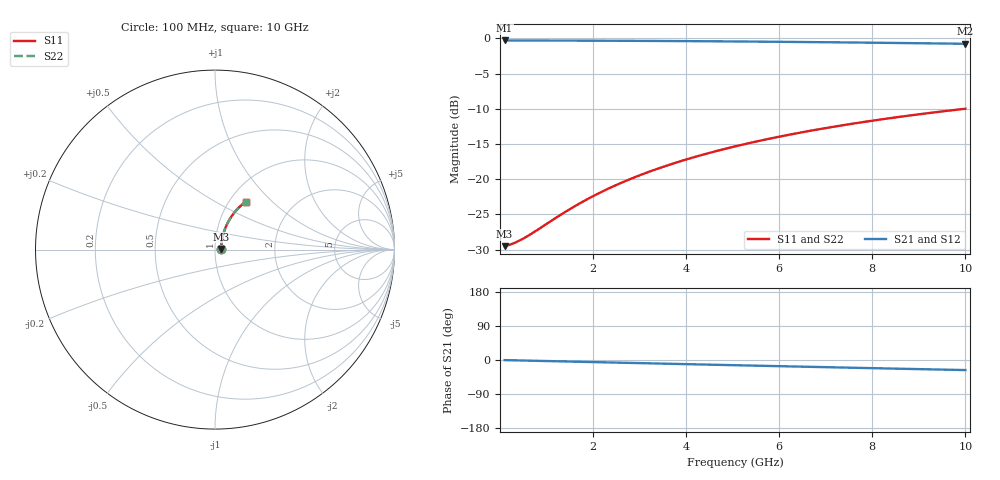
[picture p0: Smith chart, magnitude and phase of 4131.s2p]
# Hz S RI R 50.00
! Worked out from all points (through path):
!   100 points, 100 MHz to 10 GHz, reference 50 ohm
!   highest |S21| = -0.29 dB at 100 MHz (marker M1); lowest = -0.8 dB at 10 GHz (marker M2)
!   group delay of S21, straight-line fit = 7.4 ps
!   lowest |S11| = -29.5 dB at 100 MHz (marker M3), VSWR 1.07, Z = 53.4 + j0.345 ohm
!   |S11| at or under -10 dB: start of sweep to 9.991 GHz
!   |S22| runs from -29.5 to -10.0 dB; largest |S21 - S12| = 0
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1e8  0.0333 0.00322  0.9667 -0.00464  0.9667 -0.00464  0.0333 0.00322
2e8  0.0335 0.00644  0.9665 -0.00928  0.9665 -0.00928  0.0335 0.00644
3e8  0.0338 0.00966  0.9662 -0.0139  0.9662 -0.0139  0.0338 0.00966
4e8  0.034 0.0129  0.966 -0.0186  0.966 -0.0186  0.034 0.0129
5e8  0.0342 0.0161  0.9657 -0.0232  0.9657 -0.0232  0.0342 0.0161
7e8  0.0348 0.0225  0.9652 -0.0324  0.9652 -0.0324  0.0348 0.0225
1.4e9  0.0375 0.0448  0.9623 -0.0647  0.9623 -0.0647  0.0375 0.0448
1.8e9  0.0396 0.0574  0.96 -0.083  0.96 -0.083  0.0396 0.0574
2.2e9  0.0422 0.07  0.9572 -0.1012  0.9572 -0.1012  0.0422 0.07
2.6e9  0.0453 0.0824  0.954 -0.1193  0.954 -0.1193  0.0453 0.0824
3e9  0.0488 0.0946  0.9503 -0.1373  0.9503 -0.1373  0.0488 0.0946
3.4e9  0.0527 0.1067  0.946 -0.155  0.946 -0.155  0.0527 0.1067
3.8e9  0.0571 0.1185  0.9413 -0.1726  0.9413 -0.1726  0.0571 0.1185
4.2e9  0.0619 0.1302  0.9362 -0.19  0.9362 -0.19  0.0619 0.1302
4.6e9  0.0672 0.1416  0.9306 -0.2072  0.9306 -0.2072  0.0672 0.1416
5.1e9  0.0743 0.1556  0.923 -0.2283  0.923 -0.2283  0.0743 0.1556
5.9e9  0.0869 0.177  0.9095 -0.2611  0.9095 -0.2611  0.0869 0.177
6.7e9  0.1009 0.1973  0.8944 -0.2929  0.8944 -0.2929  0.1009 0.1973
7.5e9  0.1162 0.2162  0.8779 -0.3233  0.8779 -0.3233  0.1162 0.2162
8.4e9  0.1348 0.2359  0.8578 -0.356  0.8578 -0.356  0.1348 0.2359
9.2e9  0.1524 0.2519  0.8387 -0.3836  0.8387 -0.3836  0.1524 0.2519
1e10  0.1708 0.2664  0.8186 -0.4097  0.8186 -0.4097  0.1708 0.2664
